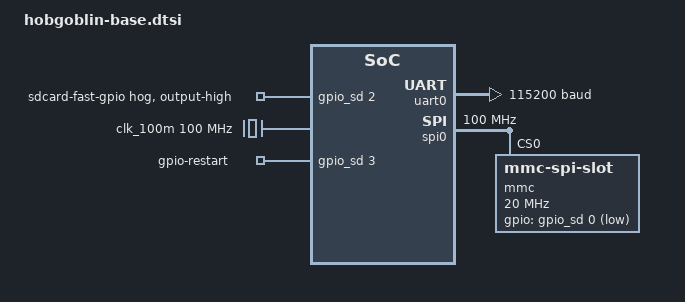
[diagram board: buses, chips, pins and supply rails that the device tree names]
// SPDX-License-Identifier: GPL-2.0
/*
 * Copyright (c) 2024 Codasip GmbH
 *
 * A730 Hobgoblin FPGA platform base description. This dts includes all the
 * hardware that is not dependent the particular FPGA platform. Depending on
 * the board, some of this hardware may not actually be connected to anything
 * sensible, but the registers and controllers will exist. Note that this
 * means that the DDR is *not* included in here since that is board specific.
 *
 */

#include "dt-bindings/gpio/gpio.h"

/ {
	#address-cells = <2>;
	#size-cells = <2>;
	compatible = "codasip,a730";

	aliases {
		serial0 = &uart0;
		spi0 = &spi0;
	};

	soc: soc@0 {
		#address-cells = <1>;
		#size-cells = <1>;
		compatible = "simple-bus";
		/* child-bus-address parent-bus-address*2 length */
		ranges = <0x0 0x0 0x0 0x80000000>;
		dma-noncoherent;

		plic: interrupt-controller@40000000 {
			compatible = "codasip,plic", "riscv,plic0";
			reg = <0x40000000 0x4000000>;
			#address-cells = <0>;

			/* Downstream interrupts - how are they specified/how many are available */
			interrupt-controller;
			#interrupt-cells = <1>;
			riscv,ndev = <31>; /* 1 to 31 inclusive */
			interrupts-extended = < &cpu0_intc 11 &cpu0_intc 9 >;
		};

		clint: timer@60014000 {
			compatible = "codasip,clint", "sifive,clint0";
			reg = <0x60014000 0xC000>;
			interrupts-extended = < &cpu0_intc 3 &cpu0_intc 7 >;
		};

		uart0: serial@60100000 {
			compatible = "ns16550a";
			reg = <0x60100000 0x1020>;

			/* Required by OpenSBI */
			/* UART clock frequency */
			clock-frequency = <100000000>;
			current-speed = <115200>;
			reg-shift = <2>;
			reg-offset = <0x1000>;

			/* Upstream interrupts */
			interrupts-extended = <&plic 1>;
		};

		spi0: spi@60210000 {
			compatible = "xlnx,xps-spi-2.00.a";
			reg = <0x60210000 0x1000>;
			xlnx,num-ss-bits = <1>;
			xlnx,num-transfer-bits = <8>;
			clock-frequency = <100000000>;
			interrupts-extended = <&plic 4>;
			fifo-size = <256>;	/* Needed for U-Boot */

			#address-cells = <1>;
			#size-cells = <0>;

			mmc@0 {
				compatible = "mmc-spi-slot";
				reg = <0>;
				spi-max-frequency = <20000000>;
				voltage-ranges = <3300 3300>;
				disable-wp;
				/* card-detect, write-protect */
				gpios = <&gpio_sd 0 GPIO_ACTIVE_LOW>;
			};
		};

		gpio_io: gpio@60300000 {
			compatible = "xlnx,xps-gpio-1.00.a";
			reg = <0x60300000 0x10000>;
			#gpio-cells = <2>;
			#interrupt-cells = <0x2>;
			#address-cells = <0>;
			/* clocks = <&zynqmp_clk 71>; */
			gpio-controller;
			interrupt-controller;
			interrupts-extended = <&plic 7>;
			xlnx,all-inputs = <0x0>;
			xlnx,all-outputs = <0x0>;
			xlnx,dout-default = <0x0>;
			xlnx,gpio-width = <0x20>;
			xlnx,interrupt-present = <0x1>;
			xlnx,is-dual = <0x0>;
			xlnx,tri-default = <0xfe>;
		};

		gpio_sd: gpio@60310000 {
			compatible = "xlnx,xps-gpio-1.00.a";
			reg = <0x60310000 0x10000>;
			#gpio-cells = <2>;
			#interrupt-cells = <0x2>;
			#address-cells = <0>;
			/* clocks = <&zynqmp_clk 71>; */
			gpio-controller;
			interrupt-controller;
			interrupts-extended = <&plic 8>;
			xlnx,all-inputs = <0x0>;
			xlnx,all-outputs = <0x0>;
			xlnx,dout-default = <0x0>;
			xlnx,gpio-width = <0x20>;
			xlnx,interrupt-present = <0x1>;
			xlnx,is-dual = <0x0>;
			xlnx,tri-default = <0x01>;

			sdcard_hog {
				gpio-hog;
				gpios = <2 GPIO_ACTIVE_HIGH>;
				output-high;
				line-name = "sdcard-fast-gpio";
			};
		};

	};

	/* Interconnect runs off this clock */
	clk_100m: clock {
		compatible = "fixed-clock";
		#clock-cells = <0>;
		clock-frequency = <100000000>;
	};

	gpio-restart {
		compatible = "gpio-restart";
		gpios = <&gpio_sd 3 GPIO_ACTIVE_HIGH>;
	};
};
